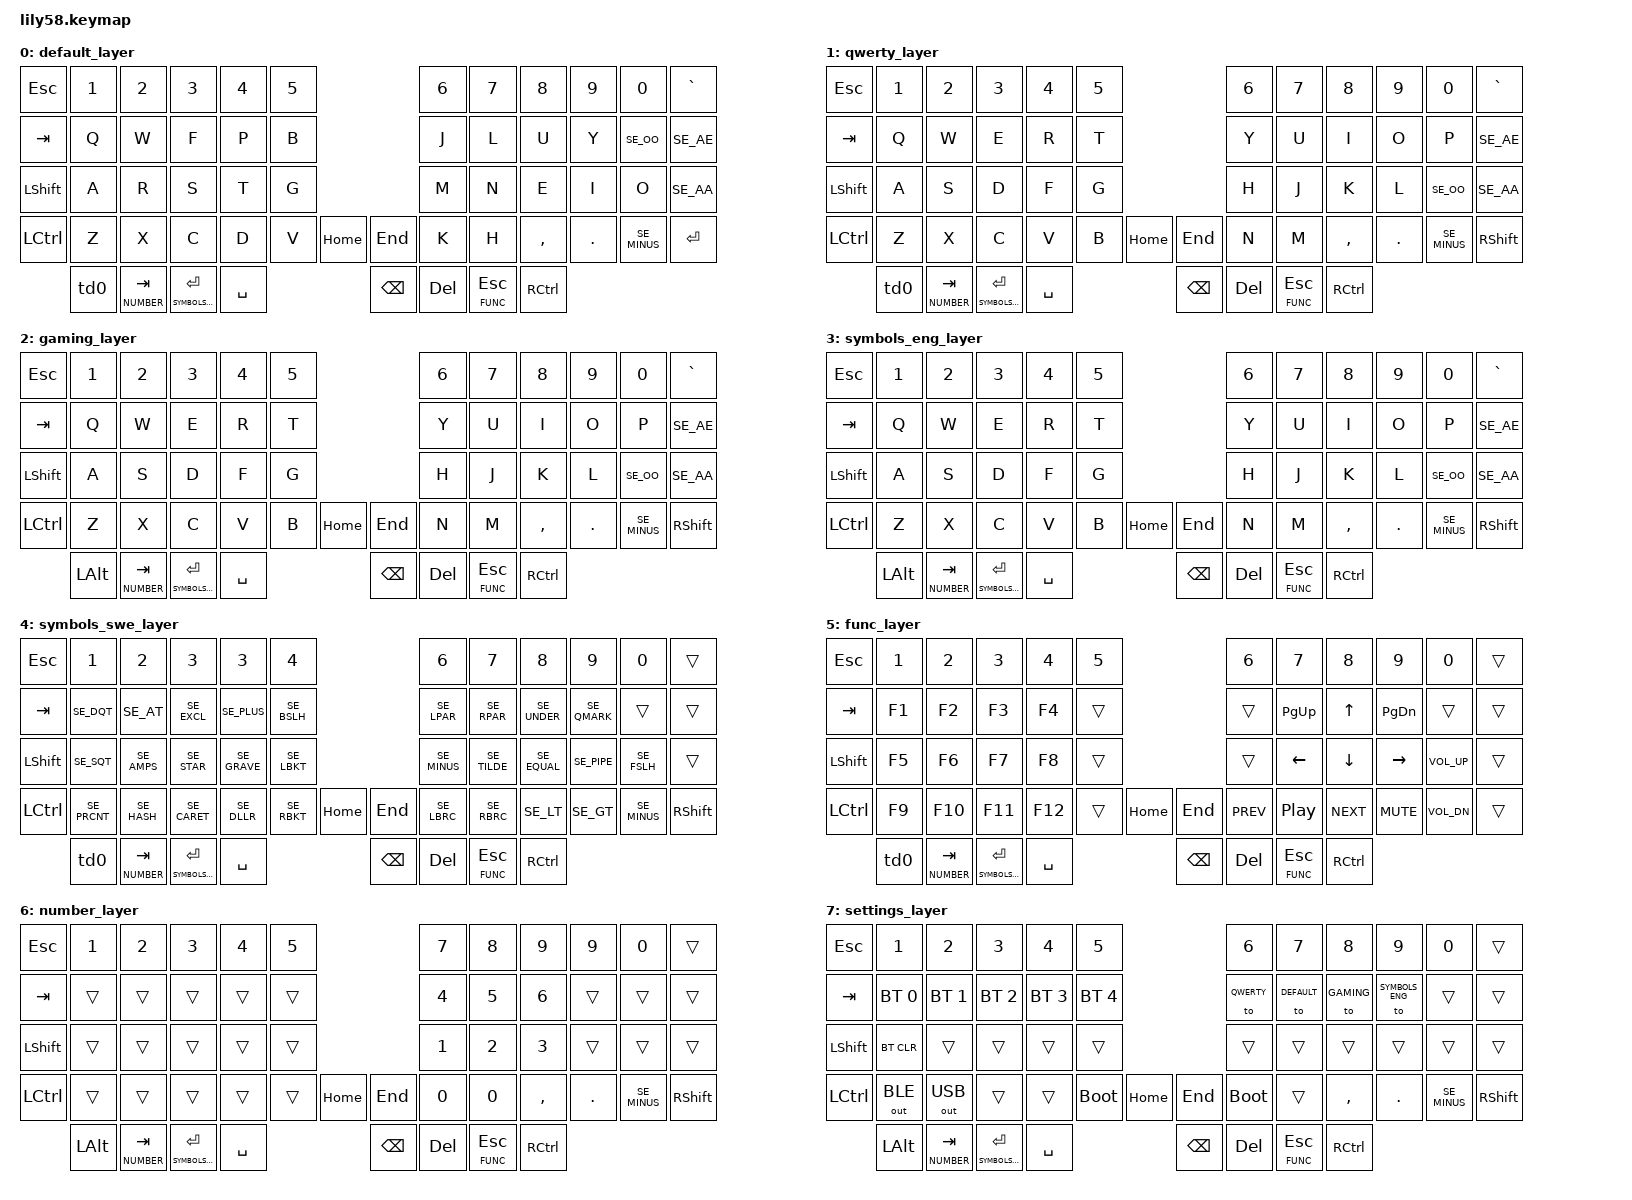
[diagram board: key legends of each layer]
/*
 * Copyright (c) 2020 The ZMK Contributors
 *
 * SPDX-License-Identifier: MIT
 */

#include <behaviors.dtsi>
#include "swe_keys.h"
#include <dt-bindings/zmk/keys.h>
#include <dt-bindings/zmk/bt.h>
#include <dt-bindings/zmk/outputs.h>
#include <dt-bindings/zmk/ext_power.h>

#define DEFAULT     0
#define QWERTY      1
#define GAMING      2
#define SYMBOLS_ENG 3
#define SYMBOLS_SWE 4
#define FUNC        5
#define NUMBER      6
#define SETTINGS    7

/ {
    behaviors {
        td0: tap_dance_0 {
            compatible = "zmk,behavior-tap-dance";
            label = "TAP_DANCE_0";
            #binding-cells = <0>;
            tapping-term-ms = <300>;
            bindings = <&kp LEFT_ALT>, <&kp LGUI>;
        };
    };

    keymap {
        compatible = "zmk,keymap";

        default_layer {
            bindings = <
            &kp ESC     &kp N1  &kp N2        &kp N3    &kp N4     &kp N5                        &kp N6         &kp N7     &kp N8     &kp N9    &kp N0          &kp GRAVE
            &kp TAB     &kp Q   &kp W         &kp F     &kp P      &kp B                         &kp J          &kp L      &kp U      &kp Y     &kp SE_OO       &kp SE_AE
            &kp LSHIFT  &kp A   &kp R         &kp S     &kp T      &kp G                         &kp M          &kp N      &kp E      &kp I     &kp O           &kp SE_AA
            &kp LCTRL   &kp Z   &kp X         &kp C     &kp D      &kp V   &kp HOME   &kp END    &kp K          &kp H      &kp COMMA  &kp DOT   &kp SE_MINUS    &kp ENTER
                            &td0  &lt NUMBER TAB  &lt SYMBOLS_SWE ENTER   &kp SPACE  &kp BACKSPACE  &kp DEL  &lt FUNC ESC   &kp RCTRL
            >;
        };

        qwerty_layer {
            bindings = <
            &kp ESC     &kp N1  &kp N2        &kp N3    &kp N4     &kp N5                        &kp N6         &kp N7     &kp N8     &kp N9    &kp N0         &kp GRAVE
            &kp TAB     &kp Q   &kp W         &kp E     &kp R      &kp T                         &kp Y          &kp U      &kp I      &kp O     &kp P          &kp SE_AE
            &kp LSHIFT  &kp A   &kp S         &kp D     &kp F      &kp G                         &kp H          &kp J      &kp K      &kp L     &kp SE_OO      &kp SE_AA
            &kp LCTRL   &kp Z   &kp X         &kp C     &kp V      &kp B   &kp HOME   &kp END    &kp N          &kp M      &kp COMMA  &kp DOT   &kp SE_MINUS   &kp RSHFT
                               &td0  &lt NUMBER TAB  &lt SYMBOLS_SWE ENTER   &kp SPACE  &kp BACKSPACE  &kp DEL  &lt FUNC ESC   &kp RCTRL
            >;
        };

        gaming_layer {
            bindings = <
            &kp ESC     &kp N1  &kp N2        &kp N3    &kp N4     &kp N5                        &kp N6         &kp N7     &kp N8     &kp N9    &kp N0          &kp GRAVE
            &kp TAB     &kp Q   &kp W         &kp E     &kp R      &kp T                         &kp Y          &kp U      &kp I      &kp O     &kp P           &kp SE_AE
            &kp LSHIFT  &kp A   &kp S         &kp D     &kp F      &kp G                         &kp H          &kp J      &kp K      &kp L     &kp SE_OO       &kp SE_AA
            &kp LCTRL   &kp Z   &kp X         &kp C     &kp V      &kp B   &kp HOME   &kp END    &kp N          &kp M      &kp COMMA  &kp DOT   &kp SE_MINUS    &kp RSHFT
                                &kp LEFT_ALT  &lt NUMBER TAB  &lt SYMBOLS_SWE ENTER   &kp SPACE  &kp BACKSPACE  &kp DEL  &lt FUNC ESC   &kp RCTRL
            >;
        };

        symbols_eng_layer {
            bindings = <
            &kp ESC     &kp N1  &kp N2        &kp N3    &kp N4     &kp N5                        &kp N6         &kp N7     &kp N8     &kp N9    &kp N0          &kp GRAVE
            &kp TAB     &kp Q   &kp W         &kp E     &kp R      &kp T                         &kp Y          &kp U      &kp I      &kp O     &kp P           &kp SE_AE
            &kp LSHIFT  &kp A   &kp S         &kp D     &kp F      &kp G                         &kp H          &kp J      &kp K      &kp L     &kp SE_OO       &kp SE_AA
            &kp LCTRL   &kp Z   &kp X         &kp C     &kp V      &kp B   &kp HOME   &kp END    &kp N          &kp M      &kp COMMA  &kp DOT   &kp SE_MINUS    &kp RSHFT
                                &kp LEFT_ALT  &lt NUMBER TAB  &lt SYMBOLS_SWE ENTER   &kp SPACE  &kp BACKSPACE  &kp DEL  &lt FUNC ESC   &kp RCTRL
            >;
        };

        symbols_swe_layer {
            bindings = <
            &kp ESC     &kp N1          &kp N2          &kp N3         &kp N3         &kp N4                                      &kp N6        &kp N7          &kp N8          &kp N9          &kp N0          &trans
            &kp TAB     &kp SE_DQT      &kp SE_AT       &kp SE_EXCL    &kp SE_PLUS    &kp SE_BSLH                                 &kp SE_LPAR   &kp SE_RPAR     &kp SE_UNDER    &kp SE_QMARK    &trans          &trans
            &kp LSHIFT  &kp SE_SQT      &kp SE_AMPS     &kp SE_STAR    &kp SE_GRAVE   &kp SE_LBKT                                 &kp SE_MINUS  &kp SE_TILDE    &kp SE_EQUAL    &kp SE_PIPE     &kp SE_FSLH     &trans
            &kp LCTRL   &kp SE_PRCNT    &kp SE_HASH     &kp SE_CARET   &kp SE_DLLR    &kp SE_RBKT       &kp HOME   &kp END        &kp SE_LBRC   &kp SE_RBRC     &kp SE_LT       &kp SE_GT       &kp SE_MINUS    &kp RSHFT
                                                       &td0  &lt NUMBER TAB     &lt SYMBOLS_SWE ENTER  &kp SPACE  &kp BACKSPACE  &kp DEL  &lt FUNC ESC   &kp RCTRL
            >;
        };

        func_layer {
            bindings = <
            &kp ESC     &kp N1  &kp N2        &kp N3    &kp N4     &kp N5                        &kp N6         &kp N7     &kp N8     &kp N9        &kp N0          &trans
            &kp TAB     &kp F1  &kp F2        &kp F3    &kp F4     &trans                        &trans         &kp PG_UP  &kp UP     &kp PG_DN     &trans          &trans
            &kp LSHIFT  &kp F5  &kp F6        &kp F7    &kp F8     &trans                        &trans         &kp LEFT   &kp DOWN   &kp RIGHT     &kp K_VOL_UP    &trans
            &kp LCTRL   &kp F9  &kp F10       &kp F11   &kp F12    &trans   &kp HOME   &kp END   &kp C_PREV     &kp C_PP   &kp C_NEXT   &kp K_MUTE    &kp K_VOL_DN    &trans
                            &td0  &lt NUMBER TAB  &lt SYMBOLS_SWE ENTER   &kp SPACE  &kp BACKSPACE  &kp DEL  &lt FUNC ESC   &kp RCTRL
            >;
        };

        number_layer {
            bindings = <
            &kp ESC     &kp N1  &kp N2      &kp N3    &kp N4    &kp N5                         &kp N7         &kp N8      &kp N9     &kp N9     &kp N0          &trans
            &kp TAB     &trans  &trans      &trans    &trans    &trans                         &kp N4         &kp N5      &kp N6     &trans     &trans          &trans
            &kp LSHIFT  &trans  &trans      &trans    &trans    &trans                         &kp N1         &kp N2      &kp N3     &trans     &trans          &trans
            &kp LCTRL   &trans  &trans      &trans    &trans    &trans   &kp HOME   &kp END    &kp N0         &kp N0      &kp COMMA  &kp DOT    &kp SE_MINUS    &kp RSHFT
                   &kp LEFT_ALT  &lt NUMBER TAB  &lt SYMBOLS_SWE ENTER   &kp SPACE  &kp BACKSPACE  &kp DEL  &lt FUNC ESC   &kp RCTRL
            >;
        };

        settings_layer {
            bindings = <
            &kp ESC     &kp N1          &kp N2          &kp N3          &kp N4          &kp N5                              &kp N6          &kp N7          &kp N8      &kp N9              &kp N0          &trans
            &kp TAB     &bt BT_SEL 0    &bt BT_SEL 1    &bt BT_SEL 2    &bt BT_SEL 3    &bt BT_SEL 4                        &to QWERTY      &to DEFAULT     &to GAMING  &to SYMBOLS_ENG     &trans          &trans
            &kp LSHIFT  &bt BT_CLR      &trans          &trans          &trans          &trans                              &trans          &trans          &trans      &trans              &trans          &trans
            &kp LCTRL   &out OUT_BLE    &out OUT_USB   &trans           &trans          &bootloader   &kp HOME   &kp END    &bootloader     &trans          &kp COMMA   &kp DOT             &kp SE_MINUS    &kp RSHFT
                                                &kp LEFT_ALT  &lt NUMBER TAB  &lt SYMBOLS_SWE ENTER   &kp SPACE  &kp BACKSPACE  &kp DEL  &lt FUNC ESC   &kp RCTRL
            >;
        };
    };
};
